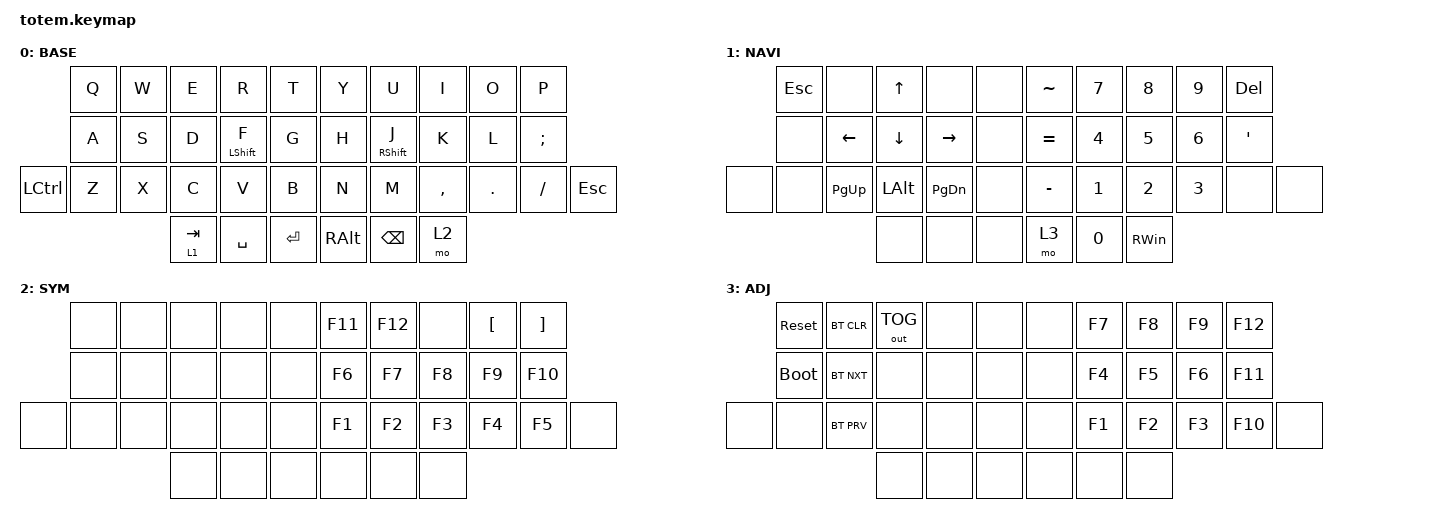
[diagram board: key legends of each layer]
//
//                                                        ▀▀▀▀▀     ▀▀▀▀▀          ▀▀█▀▀
//                                                        ▄▀▀▀▄  ▄  ▄▀▀▀▄  ▄  ▄▀▀▀▄  █  ▄▀▀▀▄
//                                                        █   █  █  █   █  █  █   █  █  █   █
//                                                         ▀▀▀   █   ▀▀▀   █   ▀▀▀   ▀   ▀▀▀
//                                                               █      ▄▄▄█▄▄▄    █   █  
//                                                               ▀      █  █  █     █▄█
//                                                             ▀▀▀▀▀    █  █  █      ▀
//                                                                      ▀  ▀  ▀
//
// ▄▄▄▄▄▄▄▄▄▄▄▄▄▄▄▄▄▄▄▄▄▄▄▄▄▄▄▄▄▄▄▄▄▄▄▄▄▄▄▄▄▄▄▄▄▄▄▄▄▄▄▄▄▄▄▄▄▄▄▄▄▄▄▄▄▄▄▄▄▄▄▄▄▄▄▄▄▄▄▄▄▄▄▄▄▄▄▄▄▄▄▄▄▄▄▄▄▄▄▄▄▄▄▄▄▄▄▄▄▄▄▄▄▄▄▄▄▄▄▄▄▄▄▄▄▄▄▄▄▄▄▄▄▄▄▄▄▄▄▄▄▄▄▄▄▄▄▄▄

#include <behaviors.dtsi>
#include <dt-bindings/zmk/bt.h>
#include <dt-bindings/zmk/keys.h>
#include <dt-bindings/zmk/outputs.h>

#define BASE 0
#define NAV  1
#define SYM  2
#define ADJ  3
#define TVP1 4
#define TVP2 5

&mt {
    quick-tap-ms = <100>;
    global-quick-tap;
    flavor = "tap-preferred";
    tapping-term-ms = <170>;
};

/ {
    combos {
        compatible = "zmk,combos";

        combo_esc {
            timeout-ms = <50>;
            key-positions = <0 1>;
            bindings = <&kp ESC>;
        };

        combo_tvp {
            timeout-ms = <100>;
            key-positions = <11 12 13>;
            bindings = <&tog 0>;
        };
    };

    macros {
        gif: gif {
            label = "giphy";
            compatible = "zmk,behavior-macro";
            #binding-cells = <0>;
            bindings =
                <&macro_press>,
                <&kp LSHFT>,
                <&macro_tap>,
                <&kp N2>,
                <&macro_release>,
                <&kp LSHFT>,
                <&macro_tap>,
                <&kp G &kp I &kp F>;
        };
    };

    keymap {
        compatible = "zmk,keymap";

        // ▄▄▄▄▄▄▄▄▄▄▄▄▄▄▄▄▄▄▄▄▄▄▄▄▄▄▄▄▄▄▄▄▄▄▄▄▄▄▄▄▄▄▄▄▄▄▄▄▄▄▄▄▄▄▄▄▄▄▄▄▄▄▄▄▄▄▄▄▄▄▄▄▄▄▄▄▄▄▄▄▄▄▄▄▄▄▄▄▄▄▄▄▄▄▄▄▄▄▄▄▄▄▄▄▄▄▄▄▄▄▄▄▄▄▄▄▄▄▄▄▄▄▄▄▄▄▄▄▄▄▄▄▄▄▄▄▄▄▄▄▄▄▄▄▄▄▄▄▄

        base_layer {
            // ┏━━━━━━━━━━━━━━━━━━━━━━━━━━━━━━━━━━━━━━━┓

            label = "BASE";

            // ┗━━━━━━━━━━━━━━━━━━━━━━━━━━━━━━━━━━━━━━━┛
            //             ┏━━━━━━━━━━━┳━━━━━━━━━━━┳━━━━━━━━━━━┳━━━━━━━━━━━┳━━━━━━━━━━━┓   ┏━━━━━━━━━━━┳━━━━━━━━━━━┳━━━━━━━━━━━┳━━━━━━━━━━━┳━━━━━━━━━━━┓
            //             ┃     Q     ┃     W    ┃     E     ┃     P     ┃     G     ┃   ┃     J     ┃     L     ┃     U     ┃     Y     ┃     ;     ┃
            //             ┣━━━━━━━━━━━╋━━━━━━━━━━━╋━━━━━━━━━━━╋━━━━━━━━━━━╋━━━━━━━━━━━┫   ┣━━━━━━━━━━━╋━━━━━━━━━━━╋━━━━━━━━━━━╋━━━━━━━━━━━╋━━━━━━━━━━━┫
            //             ┃     A     ┃     R     ┃     S     ┃     T     ┃     D     ┃   ┃     H     ┃     N     ┃     E     ┃     I     ┃     O     ┃
            // ┏━━━━━━━━━━━╋━━━━━━━━━━━╋━━━━━━━━━━━╋━━━━━━━━━━━╋━━━━━━━━━━━╋━━━━━━━━━━━┫   ┣━━━━━━━━━━━╋━━━━━━━━━━━╋━━━━━━━━━━━╋━━━━━━━━━━━╋━━━━━━━━━━━╋━━━━━━━━━━━┓
            // ┃     Q     ┃     Z     ┃     X     ┃     C     ┃     V     ┃     B     ┃   ┃     K     ┃     M     ┃     ,     ┃     .     ┃     /     ┃     \     ┃
            // ┗━━━━━━━━━━━┻━━━━━━━━━━━┻━━━━━━━━━━━╋━━━━━━━━━━━╋━━━━━━━━━━━╋━━━━━━━━━━━┫   ┣━━━━━━━━━━━╋━━━━━━━━━━━╋━━━━━━━━━━━╋━━━━━━━━━━━┻━━━━━━━━━━━┻━━━━━━━━━━━┛
            //                                     ┃    DEL    ┃    SPC    ┃    ENTER    ┃   ┃   BSPC ┃         BSPC  ┃             BSPC    ┃
            //                                     ┗━━━━━━━━━━━┻━━━━━━━━━━━┻━━━━━━━━━━━┛   ┗━━━━━━━━━━━┻━━━━━━━━━━━┻━━━━━━━━━━━┛

            bindings = <
           &kp Q  &kp W  &kp E      &kp R        &kp T        &kp Y          &kp U              &kp I      &kp O    &kp P
           &kp A  &kp S  &kp D      &mt LSHFT F  &kp G        &kp H          &mt RIGHT_SHIFT J  &kp K      &kp L    &kp SEMICOLON
&kp LCTRL  &kp Z  &kp X  &kp C      &kp V        &kp B        &kp N          &kp M              &kp COMMA  &kp DOT  &kp SLASH      &kp ESCAPE
                         &lt 1 TAB  &kp SPACE    &kp ENTER    &kp RIGHT_ALT  &kp BACKSPACE      &mo 2
            >;
        };

        // ▄▄▄▄▄▄▄▄▄▄▄▄▄▄▄▄▄▄▄▄▄▄▄▄▄▄▄▄▄▄▄▄▄▄▄▄▄▄▄▄▄▄▄▄▄▄▄▄▄▄▄▄▄▄▄▄▄▄▄▄▄▄▄▄▄▄▄▄▄▄▄▄▄▄▄▄▄▄▄▄▄▄▄▄▄▄▄▄▄▄▄▄▄▄▄▄▄▄▄▄▄▄▄▄▄▄▄▄▄▄▄▄▄▄▄▄▄▄▄▄▄▄▄▄▄▄▄▄▄▄▄▄▄▄▄▄▄▄▄▄▄▄▄▄▄▄▄▄▄

        nav_layer {
            // ┏━━━━━━━━━━━━━━━━━━━━━━━━━━━━━━━━━━━━━━━┓

            label = "NAVI";

            // ┗━━━━━━━━━━━━━━━━━━━━━━━━━━━━━━━━━━━━━━━┛
            //             ┏━━━━━━━━━━━┳━━━━━━━━━━━┳━━━━━━━━━━━┳━━━━━━━━━━━┳━━━━━━━━━━━┓   ┏━━━━━━━━━━━┳━━━━━━━━━━━┳━━━━━━━━━━━┳━━━━━━━━━━━┳━━━━━━━━━━━┓
            //             ┃           ┃           ┃     UP    ┃           ┃     {     ┃   ┃     }     ┃     7     ┃     8     ┃     9     ┃     +     ┃
            //             ┣━━━━━━━━━━━╋━━━━━━━━━━━╋━━━━━━━━━━━╋━━━━━━━━━━━╋━━━━━━━━━━━┫   ┣━━━━━━━━━━━╋━━━━━━━━━━━╋━━━━━━━━━━━╋━━━━━━━━━━━╋━━━━━━━━━━━┫
            //             ┃   SHIFT   ┃   LEFT    ┃    DOWN   ┃   RIGHT   ┃     [     ┃   ┃     ]     ┃     4     ┃     5     ┃     6     ┃     -     ┃
            // ┏━━━━━━━━━━━╋━━━━━━━━━━━╋━━━━━━━━━━━╋━━━━━━━━━━━╋━━━━━━━━━━━╋━━━━━━━━━━━┫   ┣━━━━━━━━━━━╋━━━━━━━━━━━╋━━━━━━━━━━━╋━━━━━━━━━━━╋━━━━━━━━━━━╋━━━━━━━━━━━┓
            // ┃           ┃           ┃   P UP    ┃  C LOCK   ┃  P DOWN   ┃     (     ┃   ┃     )     ┃     1     ┃     2     ┃     3     ┃     *     ┃           ┃
            // ┗━━━━━━━━━━━┻━━━━━━━━━━━┻━━━━━━━━━━━╋━━━━━━━━━━━╋━━━━━━━━━━━╋━━━━━━━━━━━┫   ┣━━━━━━━━━━━╋━━━━━━━━━━━╋━━━━━━━━━━━╋━━━━━━━━━━━┻━━━━━━━━━━━┻━━━━━━━━━━━┛
            //                                     ┃           ┃    TAB    ┃    SPC    ┃   ┃    DEL    ┃     0     ┃           ┃
            //                                     ┗━━━━━━━━━━━┻━━━━━━━━━━━┻━━━━━━━━━━━┛   ┗━━━━━━━━━━━┻━━━━━━━━━━━┻━━━━━━━━━━━┛

            bindings = <
       &kp ESCAPE  &none      &kp UP    &none      &none    &kp TILDE  &kp NUMBER_7  &kp NUMBER_8  &kp NUMBER_9  &kp DEL
       &none       &kp LEFT   &kp DOWN  &kp RIGHT  &none    &kp EQUAL  &kp NUMBER_4  &kp NUMBER_5  &kp NUMBER_6  &kp SQT
&none  &none       &kp PG_UP  &kp LALT  &kp PG_DN  &none    &kp MINUS  &kp N1        &kp NUMBER_2  &kp NUMBER_3  &none    &none
                              &none     &none      &none    &mo 3      &kp NUMBER_0  &kp RWIN
            >;
        };

        // ▄▄▄▄▄▄▄▄▄▄▄▄▄▄▄▄▄▄▄▄▄▄▄▄▄▄▄▄▄▄▄▄▄▄▄▄▄▄▄▄▄▄▄▄▄▄▄▄▄▄▄▄▄▄▄▄▄▄▄▄▄▄▄▄▄▄▄▄▄▄▄▄▄▄▄▄▄▄▄▄▄▄▄▄▄▄▄▄▄▄▄▄▄▄▄▄▄▄▄▄▄▄▄▄▄▄▄▄▄▄▄▄▄▄▄▄▄▄▄▄▄▄▄▄▄▄▄▄▄▄▄▄▄▄▄▄▄▄▄▄▄▄▄▄▄▄▄▄▄

        sim_layer {
            // ┏━━━━━━━━━━━━━━━━━━━━━━━━━━━━━━━━━━━━━━━┓

            label = "SYM";

            // ┗━━━━━━━━━━━━━━━━━━━━━━━━━━━━━━━━━━━━━━━┛
            //             ┏━━━━━━━━━━━┳━━━━━━━━━━━┳━━━━━━━━━━━┳━━━━━━━━━━━┳━━━━━━━━━━━┓   ┏━━━━━━━━━━━┳━━━━━━━━━━━┳━━━━━━━━━━━┳━━━━━━━━━━━┳━━━━━━━━━━━┓
            //             ┃     !     ┃     @     ┃     #     ┃     $     ┃     %     ┃   ┃     ˆ     ┃     &     ┃     Ü     ┃     '     ┃     "     ┃
            //             ┣━━━━━━━━━━━╋━━━━━━━━━━━╋━━━━━━━━━━━╋━━━━━━━━━━━╋━━━━━━━━━━━┫   ┣━━━━━━━━━━━╋━━━━━━━━━━━╋━━━━━━━━━━━╋━━━━━━━━━━━╋━━━━━━━━━━━┫
            //             ┃     Ä     ┃           ┃    SZ     ┃           ┃           ┃   ┃   MUTE    ┃   YEN     ┃   EURO    ┃  POUND    ┃     Ö     ┃
            // ┏━━━━━━━━━━━╋━━━━━━━━━━━╋━━━━━━━━━━━╋━━━━━━━━━━━╋━━━━━━━━━━━╋━━━━━━━━━━━┫   ┣━━━━━━━━━━━╋━━━━━━━━━━━╋━━━━━━━━━━━╋━━━━━━━━━━━╋━━━━━━━━━━━╋━━━━━━━━━━━┓
            // ┃           ┃  EMAIL1   ┃  EMAIL2   ┃           ┃           ┃           ┃   ┃   VOL-    ┃   VOL+    ┃   LAST    ┃   NEXT    ┃     \     ┃           ┃
            // ┗━━━━━━━━━━━┻━━━━━━━━━━━┻━━━━━━━━━━━╋━━━━━━━━━━━╋━━━━━━━━━━━╋━━━━━━━━━━━┫   ┣━━━━━━━━━━━╋━━━━━━━━━━━╋━━━━━━━━━━━╋━━━━━━━━━━━┻━━━━━━━━━━━┻━━━━━━━━━━━┛
            //                                     ┃           ┃    GIF    ┃    ADJ    ┃   ┃           ┃           ┃           ┃
            //                                     ┗━━━━━━━━━━━┻━━━━━━━━━━━┻━━━━━━━━━━━┛   ┗━━━━━━━━━━━┻━━━━━━━━━━━┻━━━━━━━━━━━┛

            bindings = <
       &none  &none  &none  &none  &none    &kp F11  &kp F12  &none   &kp LBKT  &kp RIGHT_BRACKET
       &none  &none  &none  &none  &none    &kp F6   &kp F7   &kp F8  &kp F9    &kp F10
&none  &none  &none  &none  &none  &none    &kp F1   &kp F2   &kp F3  &kp F4    &kp F5             &none
                     &none  &none  &none    &none    &none    &none
            >;
        };

        // ▄▄▄▄▄▄▄▄▄▄▄▄▄▄▄▄▄▄▄▄▄▄▄▄▄▄▄▄▄▄▄▄▄▄▄▄▄▄▄▄▄▄▄▄▄▄▄▄▄▄▄▄▄▄▄▄▄▄▄▄▄▄▄▄▄▄▄▄▄▄▄▄▄▄▄▄▄▄▄▄▄▄▄▄▄▄▄▄▄▄▄▄▄▄▄▄▄▄▄▄▄▄▄▄▄▄▄▄▄▄▄▄▄▄▄▄▄▄▄▄▄▄▄▄▄▄▄▄▄▄▄▄▄▄▄▄▄▄▄▄▄▄▄▄▄▄▄▄▄

        adjust_layer {
            // ┏━━━━━━━━━━━━━━━━━━━━━━━━━━━━━━━━━━━━━━━┓

            label = "ADJ";

            // ┗━━━━━━━━━━━━━━━━━━━━━━━━━━━━━━━━━━━━━━━┛
            //             ┏━━━━━━━━━━━┳━━━━━━━━━━━┳━━━━━━━━━━━┳━━━━━━━━━━━┳━━━━━━━━━━━┓   ┏━━━━━━━━━━━┳━━━━━━━━━━━┳━━━━━━━━━━━┳━━━━━━━━━━━┳━━━━━━━━━━━┓
            //             ┃   RESET   ┃ BT CLEAR  ┃  OUT TOG  ┃           ┃           ┃   ┃           ┃    F7     ┃    F8     ┃    F9     ┃    F12    ┃
            //             ┣━━━━━━━━━━━╋━━━━━━━━━━━╋━━━━━━━━━━━╋━━━━━━━━━━━╋━━━━━━━━━━━┫   ┣━━━━━━━━━━━╋━━━━━━━━━━━╋━━━━━━━━━━━╋━━━━━━━━━━━╋━━━━━━━━━━━┫
            //             ┃ BOOTLOAD  ┃ BT NEXT   ┃           ┃           ┃           ┃   ┃           ┃    F4     ┃    F5     ┃    F6     ┃    F11    ┃
            // ┏━━━━━━━━━━━╋━━━━━━━━━━━╋━━━━━━━━━━━╋━━━━━━━━━━━╋━━━━━━━━━━━╋━━━━━━━━━━━┫   ┣━━━━━━━━━━━╋━━━━━━━━━━━╋━━━━━━━━━━━╋━━━━━━━━━━━╋━━━━━━━━━━━╋━━━━━━━━━━━┓
            // ┃           ┃           ┃ BT PREV   ┃           ┃           ┃           ┃   ┃           ┃    F1     ┃    F2     ┃    F3     ┃    F10    ┃           ┃
            // ┗━━━━━━━━━━━┻━━━━━━━━━━━┻━━━━━━━━━━━╋━━━━━━━━━━━╋━━━━━━━━━━━╋━━━━━━━━━━━┫   ┣━━━━━━━━━━━╋━━━━━━━━━━━╋━━━━━━━━━━━╋━━━━━━━━━━━┻━━━━━━━━━━━┻━━━━━━━━━━━┛
            //                                     ┃           ┃           ┃           ┃   ┃           ┃           ┃           ┃
            //                                     ┗━━━━━━━━━━━┻━━━━━━━━━━━┻━━━━━━━━━━━┛   ┗━━━━━━━━━━━┻━━━━━━━━━━━┻━━━━━━━━━━━┛

            bindings = <
       &sys_reset   &bt BT_CLR  &out OUT_TOG  &none  &none    &none  &kp F7  &kp F8  &kp F9  &kp F12
       &bootloader  &bt BT_NXT  &none         &none  &none    &none  &kp F4  &kp F5  &kp F6  &kp F11
&none  &none        &bt BT_PRV  &none         &none  &none    &none  &kp F1  &kp F2  &kp F3  &kp F10  &none
                                &none         &none  &none    &none  &none   &none
            >;
        };

        // ▄▄▄▄▄▄▄▄▄▄▄▄▄▄▄▄▄▄▄▄▄▄▄▄▄▄▄▄▄▄▄▄▄▄▄▄▄▄▄▄▄▄▄▄▄▄▄▄▄▄▄▄▄▄▄▄▄▄▄▄▄▄▄▄▄▄▄▄▄▄▄▄▄▄▄▄▄▄▄▄▄▄▄▄▄▄▄▄▄▄▄▄▄▄▄▄▄▄▄▄▄▄▄▄▄▄▄▄▄▄▄▄▄▄▄▄▄▄▄▄▄▄▄▄▄▄▄▄▄▄▄▄▄▄▄▄▄▄▄▄▄▄▄▄▄▄▄▄▄
        // ▄▄▄▄▄▄▄▄▄▄▄▄▄▄▄▄▄▄▄▄▄▄▄▄▄▄▄▄▄▄▄▄▄▄▄▄▄▄▄▄▄▄▄▄▄▄▄▄▄▄▄▄▄▄▄▄▄▄▄▄▄▄▄▄▄▄▄▄▄▄▄▄▄▄▄▄▄▄▄▄▄▄▄▄▄▄▄▄▄▄▄▄▄▄▄▄▄▄▄▄▄▄▄▄▄▄▄▄▄▄▄▄▄▄▄▄▄▄▄▄▄▄▄▄▄▄▄▄▄▄▄▄▄▄▄▄▄▄▄▄▄▄▄▄▄▄▄▄▄
    };
};
